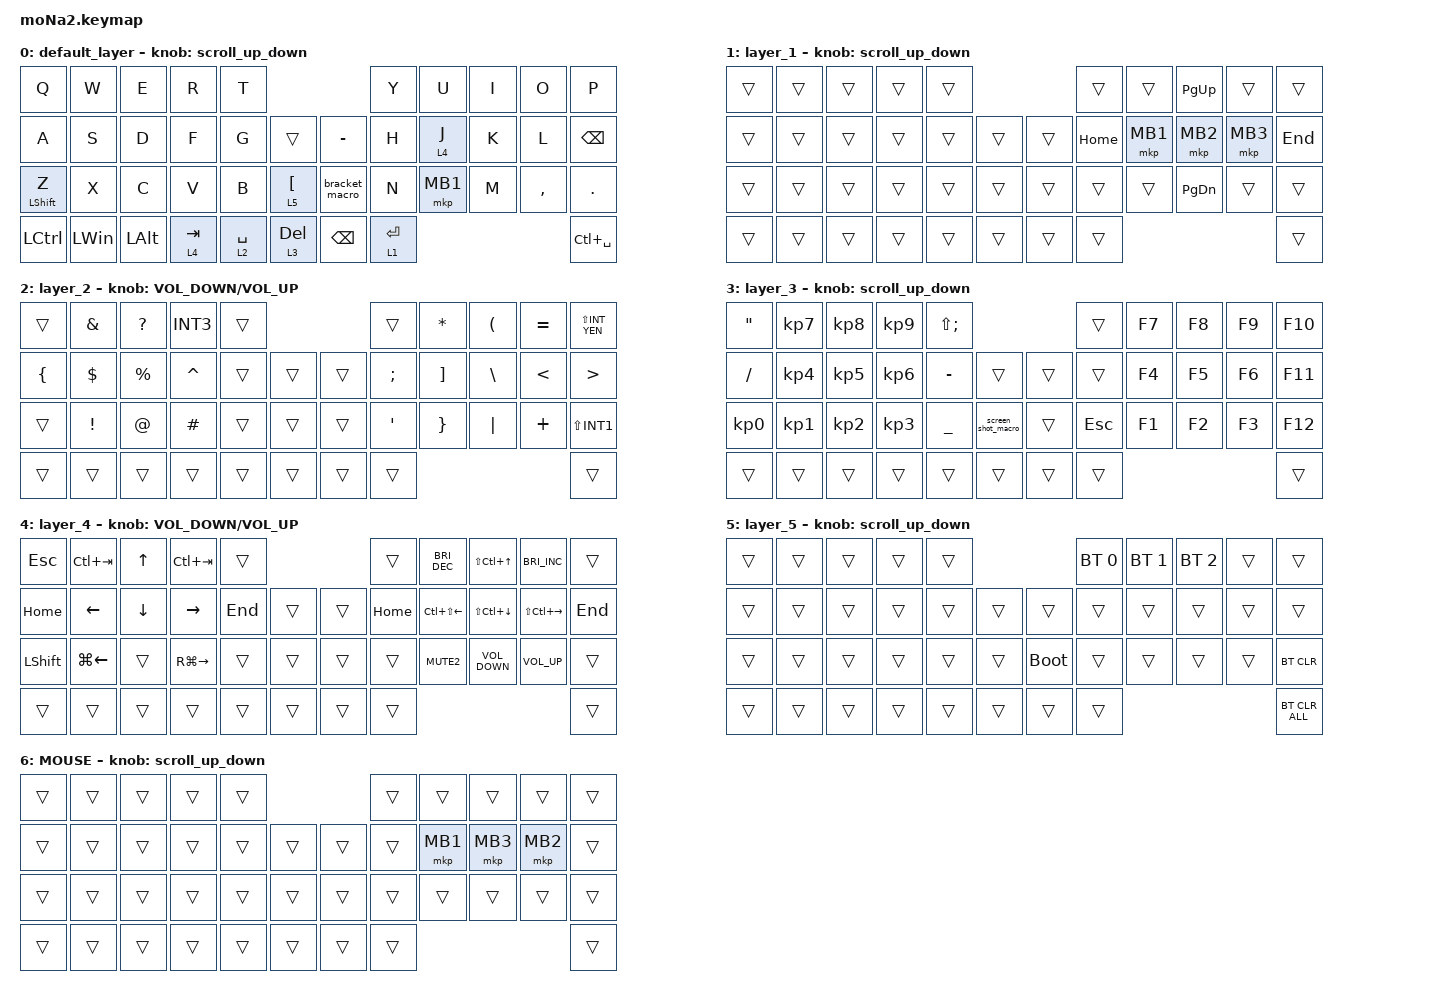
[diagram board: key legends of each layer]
#include <behaviors.dtsi>
#include <dt-bindings/zmk/bt.h>
#include <dt-bindings/zmk/keys.h>
#include <dt-bindings/zmk/pointing.h>
#include <dt-bindings/zmk/pointing.h>

#define ZMK_POINTING_DEFAULT_SCRL_VAL 100
#define MOUSE 6

&mt {
    flavor = "balanced";
    quick-tap-ms = <200>;
    tapping-term-ms = <400>;
    retro-tap;
};

&lt { tapping-term-ms = <400>; };

/ {
    combos {
        compatible = "zmk,combos";

        combo_esc {
            timeout-ms = <50>;
            key-positions = <0 1>;
            bindings = <&kp ESC>;
        };

        combo_ctrl_a {
            timeout-ms = <50>;
            key-positions = <13 14>;
            bindings = <&kp LC(A)>;
        };

        combo_ctrl_z {
            timeout-ms = <50>;
            key-positions = <22 23>;
            bindings = <&kp LC(Z)>;
        };

        combo_ctrl_x {
            timeout-ms = <50>;
            key-positions = <24 23>;
            bindings = <&kp LC(X)>;
        };

        combo_ctrl_c {
            timeout-ms = <50>;
            key-positions = <25 24>;
            bindings = <&kp LC(C)>;
        };

        combo_ctrl_v {
            timeout-ms = <50>;
            key-positions = <26 25>;
            bindings = <&kp LC(V)>;
        };
    };

    macros {
        to_layer_0: to_layer_0 {
            compatible = "zmk,behavior-macro-one-param";
            #binding-cells = <1>;
            bindings = <&to 0 &macro_param_1to1 &kp MACRO_PLACEHOLDER>;
            label = "TO_LAYER_0";
        };

        mkp_exit_AML: mkp_exit_AML {
            compatible = "zmk,behavior-macro-one-param";
            #binding-cells = <1>;
            bindings =
                <&macro_press>,
                <&macro_param_1to1 &kp MACRO_PLACEHOLDER>,
                <&macro_pause_for_release>,
                <&macro_release>,
                <&macro_param_1to1 &kp MACRO_PLACEHOLDER>,
                <&macro_tap>,
                <&sl 4>;

            label = "MKP_EXIT_AML";
        };

        screen_shot_macro: screen_shot_macro {
            compatible = "zmk,behavior-macro";
            #binding-cells = <0>;
            bindings =
                <&macro_press>,
                <&kp LEFT_WIN &kp LEFT_SHIFT>,
                <&macro_tap>,
                <&kp S>;
        };

        bt0: bt1 {
            compatible = "zmk,behavior-macro";
            #binding-cells = <0>;
            bindings = <&bt BT_SEL 0 &to 1>;
            label = "BT1";
        };

        bracket_macro: mcr_bracket {
            compatible = "zmk,behavior-macro";
            #binding-cells = <0>;
            bindings = <&kp ASTERISK &kp LEFT_PARENTHESIS>;
            label = "MCR_BRACKET";
        };
    };

    behaviors {
        lt_to_layer_0: lt_to_layer_0 {
            compatible = "zmk,behavior-hold-tap";
            label = "LAYER_TAP_TO_0";
            bindings = <&mo>, <&screen_shot_macro>;

            #binding-cells = <2>;
            tapping-term-ms = <200>;
        };

        scroll_up_down: behavior_sensor_rotate_mouse_wheel_up_down {
            compatible = "zmk,behavior-sensor-rotate";
            #sensor-binding-cells = <0>;
            bindings = <&msc SCRL_UP>, <&msc SCRL_DOWN>;

            tap-ms = <20>;
        };
    };

    keymap {
        compatible = "zmk,keymap";

        default_layer {
            bindings = <
&kp Q             &kp W         &kp E         &kp R      &kp T                                              &kp Y        &kp U     &kp I  &kp O      &kp P
&kp A             &kp S         &kp D         &kp F      &kp G        &trans                &kp MINUS       &kp H        &lt 4 J   &kp K  &kp L      &kp BACKSPACE
&mt LEFT_SHIFT Z  &kp X         &kp C         &kp V      &kp B        &lt 5 LEFT_BRACKET    &bracket_macro  &kp N        &mkp MB1  &kp M  &kp COMMA  &kp PERIOD
&kp LCTRL         &kp LEFT_WIN  &kp LEFT_ALT  &lt 4 TAB  &lt 2 SPACE  &lt 3 DEL             &kp BACKSPACE   &lt 1 ENTER                              &kp LC(SPACE)
            >;

            sensor-bindings = <&scroll_up_down>;
        };

        layer_1 {
            bindings = <
&trans  &trans  &trans  &trans  &trans                    &trans    &trans    &kp PAGE_UP    &trans    &trans
&trans  &trans  &trans  &trans  &trans  &trans    &trans  &kp HOME  &mkp MB1  &mkp MB2       &mkp MB3  &kp END
&trans  &trans  &trans  &trans  &trans  &trans    &trans  &trans    &trans    &kp PAGE_DOWN  &trans    &trans
&trans  &trans  &trans  &trans  &trans  &trans    &trans  &trans                                       &trans
            >;

            sensor-bindings = <&scroll_up_down>;
        };

        layer_2 {
            bindings = <
&trans          &kp AMPERSAND    &kp QUESTION  &kp INT3   &trans                    &trans         &kp ASTERISK       &kp LEFT_PARENTHESIS  &kp EQUAL      &kp LS(INT_YEN)
&kp LEFT_BRACE  &kp DOLLAR       &kp PERCENT   &kp CARET  &trans  &trans    &trans  &kp SEMICOLON  &kp RIGHT_BRACKET  &kp BACKSLASH         &kp LESS_THAN  &kp GREATER_THAN
&trans          &kp EXCLAMATION  &kp AT_SIGN   &kp HASH   &trans  &trans    &trans  &kp SQT        &kp RIGHT_BRACE    &kp PIPE              &kp PLUS       &kp LS(INT1)
&trans          &trans           &trans        &trans     &trans  &trans    &trans  &trans                                                                 &trans
            >;

            sensor-bindings = <&inc_dec_kp C_VOLUME_DOWN C_VOLUME_UP>;
        };

        layer_3 {
            bindings = <
&kp DOUBLE_QUOTES  &kp KP_NUMBER_7  &kp KP_NUMBER_8  &kp KP_NUMBER_9  &kp LS(SEMICOLON)                                &trans      &kp F7  &kp F8  &kp F9  &kp F10
&kp SLASH          &kp KP_NUMBER_4  &kp KP_NUMBER_5  &kp KP_NUMBER_6  &kp MINUS          &trans                &trans  &trans      &kp F4  &kp F5  &kp F6  &kp F11
&kp KP_NUMBER_0    &kp KP_NUMBER_1  &kp KP_NUMBER_2  &kp KP_NUMBER_3  &kp UNDERSCORE     &screen_shot_macro    &trans  &kp ESCAPE  &kp F1  &kp F2  &kp F3  &kp F12
&trans             &trans           &trans           &trans           &trans             &trans                &trans  &trans                              &trans
            >;

            sensor-bindings = <&scroll_up_down>;
        };

        layer_4 {
            bindings = <
&kp ESCAPE      &kp LC(TAB)         &kp UP_ARROW    &kp LC(TAB)          &trans                     &trans    &kp C_BRIGHTNESS_DEC    &kp LS(LC(UP_ARROW))    &kp C_BRIGHTNESS_INC     &trans
&kp HOME        &kp LEFT_ARROW      &kp DOWN_ARROW  &kp RIGHT_ARROW      &kp END  &trans    &trans  &kp HOME  &kp LC(LS(LEFT_ARROW))  &kp LS(LC(DOWN_ARROW))  &kp LS(LC(RIGHT_ARROW))  &kp END
&kp LEFT_SHIFT  &kp LG(LEFT_ARROW)  &trans          &kp RG(RIGHT_ARROW)  &trans   &trans    &trans  &trans    &kp K_MUTE2             &kp C_VOLUME_DOWN       &kp C_VOLUME_UP          &trans
&trans          &trans              &trans          &trans               &trans   &trans    &trans  &trans                                                                             &trans
            >;

            sensor-bindings = <&inc_dec_kp C_VOLUME_DOWN C_VOLUME_UP>;
        };

        layer_5 {
            bindings = <
&trans  &trans  &trans  &trans  &trans                         &bt BT_SEL 0  &bt BT_SEL 1  &bt BT_SEL 2  &trans  &trans
&trans  &trans  &trans  &trans  &trans  &trans    &trans       &trans        &trans        &trans        &trans  &trans
&trans  &trans  &trans  &trans  &trans  &trans    &bootloader  &trans        &trans        &trans        &trans  &bt BT_CLR
&trans  &trans  &trans  &trans  &trans  &trans    &trans       &trans                                            &bt BT_CLR_ALL
            >;

            sensor-bindings = <&scroll_up_down>;
        };

        MOUSE {
            bindings = <
&trans  &trans  &trans  &trans  &trans                    &trans  &trans    &trans    &trans    &trans
&trans  &trans  &trans  &trans  &trans  &trans    &trans  &trans  &mkp MB1  &mkp MB3  &mkp MB2  &trans
&trans  &trans  &trans  &trans  &trans  &trans    &trans  &trans  &trans    &trans    &trans    &trans
&trans  &trans  &trans  &trans  &trans  &trans    &trans  &trans                                &trans
            >;

            sensor-bindings = <&scroll_up_down>;
        };
    };
};
